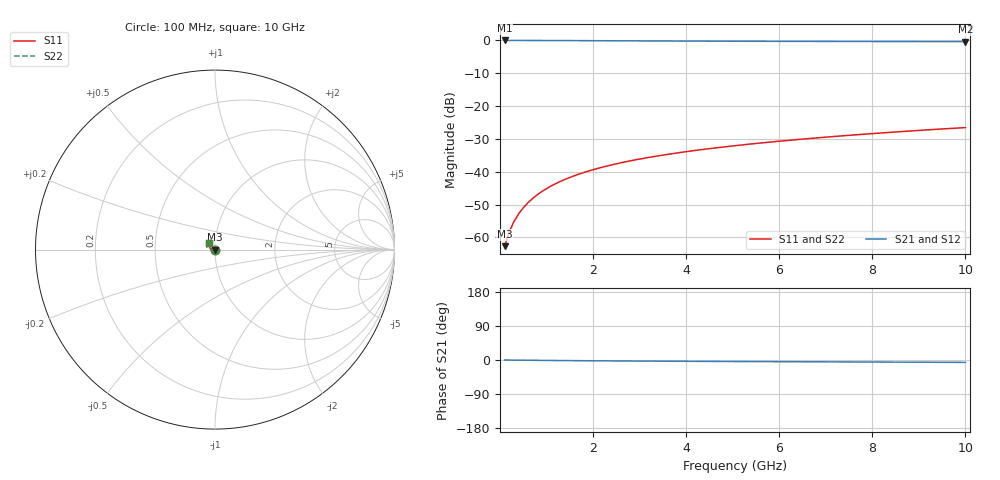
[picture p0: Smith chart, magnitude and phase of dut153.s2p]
! Touchstone file exported from HFSS 2024.1.0
!  File:  C:/UserFiles/LocalFiles/RDL_TSV_Batchsim/temp_TSV1_153_1779381632.aedt
!  Generated:  12:47:03 AM May 22, 2026
!  Design:  TSV1
!  Project:  temp_TSV1_153_1779381632
!  Setup:  Setup1
!  Solution:  Sweep
! Variables:
!  dtsv = 5.57um
!  hbump = 3um
!  htsv = 91.1um
!  lrdl = 252.1521522um
!  p = 40
!  p1 = 56.28um
!  t = 500um
!  trdl = 3um
!  wrdl = 24.89489489um
# GHz S MA R 50.000000
! Terminal data exported
! Port[1] = TSV22_T1
! Port[2] = TSV22_T2
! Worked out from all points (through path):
!   100 points, 100 MHz to 10 GHz, reference 50 ohm
!   highest |S21| = 0.00 dB at 100 MHz (marker M1); lowest = -0.4 dB at 10 GHz (marker M2)
!   lowest |S11| = -62.7 dB at 100 MHz (marker M3), VSWR 1.00, Z = 50 - j0.057 ohm
!   |S11| at or under -10 dB: start of sweep to end of sweep
!   |S22| runs from -62.7 to -26.5 dB; largest |S21 - S12| = 9.3e-15
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0.1  0.0007358 -50.7  0.9995 -0.1  0.9995 -0.1  0.0007358 -50.7
! Gamma 0 0 0 0
! Port Impedance 50 0 50 0
0.2  0.001215 -71.2  0.9994 -0.2  0.9994 -0.2  0.001215 -71.2
0.3  0.00174 -81.4  0.9992 -0.3  0.9992 -0.3  0.00174 -81.4
0.4  0.002279 -88.1  0.9991 -0.5  0.9991 -0.5  0.002279 -88.1
0.5  0.002823 -93.2  0.9988 -0.6  0.9988 -0.6  0.002823 -93.2
0.6  0.003369 -97.5  0.9985 -0.7  0.9985 -0.7  0.003369 -97.5
0.7  0.003914 -101.3  0.9982 -0.8  0.9982 -0.8  0.003914 -101.3
0.8  0.004457 -104.8  0.9978 -0.9  0.9978 -0.9  0.004457 -104.8
0.9  0.004999 -108.1  0.9974 -1.0  0.9974 -1.0  0.004999 -108.1
1.1  0.006075 -114.2  0.9965 -1.2  0.9965 -1.2  0.006075 -114.2
1.4  0.007664 -122.6  0.9948 -1.5  0.9948 -1.5  0.007664 -122.6
1.6  0.008706 -127.8  0.9936 -1.7  0.9936 -1.7  0.008706 -127.8
1.8  0.009733 -132.8  0.9923 -1.9  0.9923 -1.9  0.009733 -132.8
2.1  0.01124 -139.8  0.9902 -2.2  0.9902 -2.2  0.01124 -139.8
2.5  0.01321 -148.6  0.9874 -2.5  0.9874 -2.5  0.01321 -148.6
2.9  0.01513 -156.5  0.9847 -2.8  0.9847 -2.8  0.01513 -156.5
3.4  0.01747 -165.5  0.9814 -3.1  0.9814 -3.1  0.01747 -165.5
4.2  0.02113 -178.0  0.9768 -3.5  0.9768 -3.5  0.02113 -178.0
5.1  0.02517 170.5  0.9725 -4.0  0.9725 -4.0  0.02517 170.5
6.7  0.03231 154.7  0.9668 -4.8  0.9668 -4.8  0.03231 154.7
8.4  0.0399 142.5  0.9627 -5.5  0.9627 -5.5  0.0399 142.5
10  0.04708 133.8  0.9599 -6.3  0.9599 -6.3  0.04708 133.8
